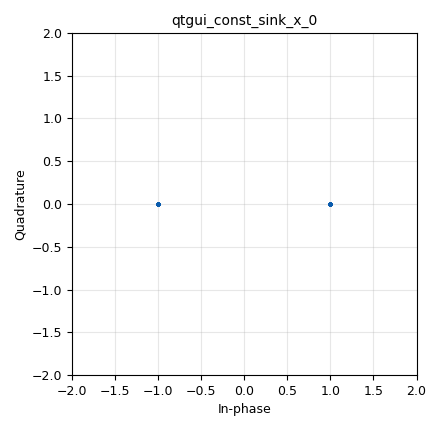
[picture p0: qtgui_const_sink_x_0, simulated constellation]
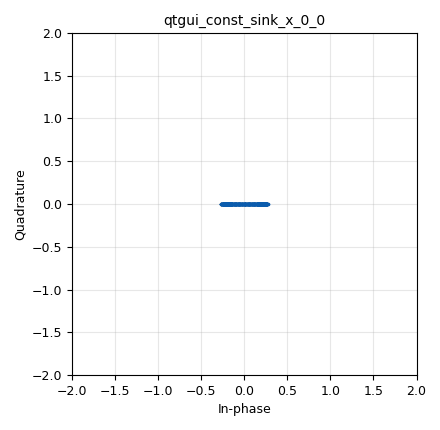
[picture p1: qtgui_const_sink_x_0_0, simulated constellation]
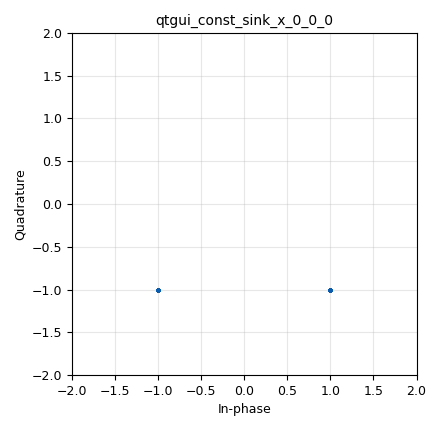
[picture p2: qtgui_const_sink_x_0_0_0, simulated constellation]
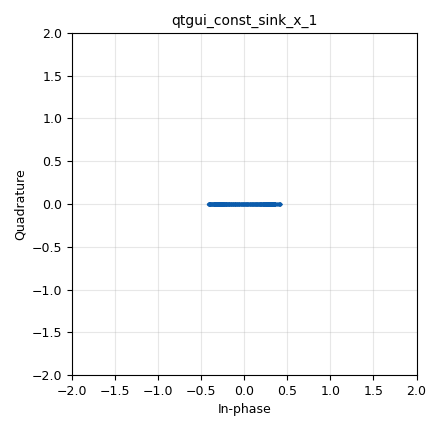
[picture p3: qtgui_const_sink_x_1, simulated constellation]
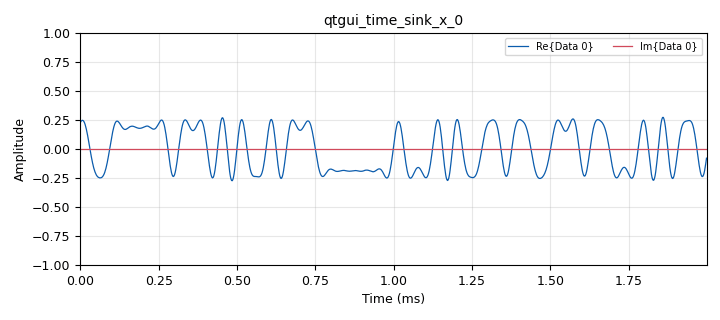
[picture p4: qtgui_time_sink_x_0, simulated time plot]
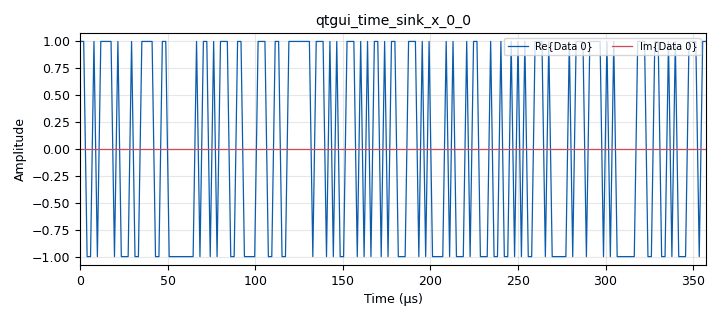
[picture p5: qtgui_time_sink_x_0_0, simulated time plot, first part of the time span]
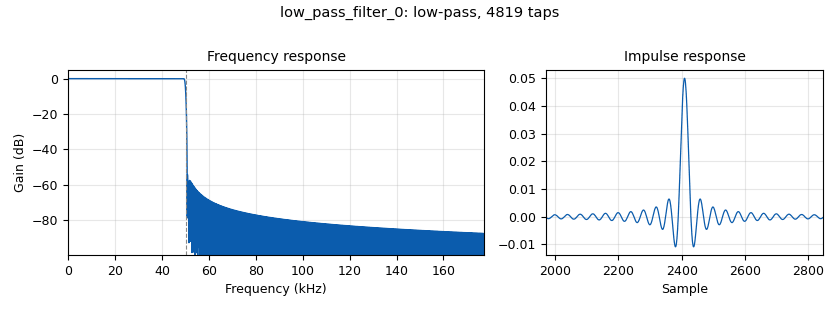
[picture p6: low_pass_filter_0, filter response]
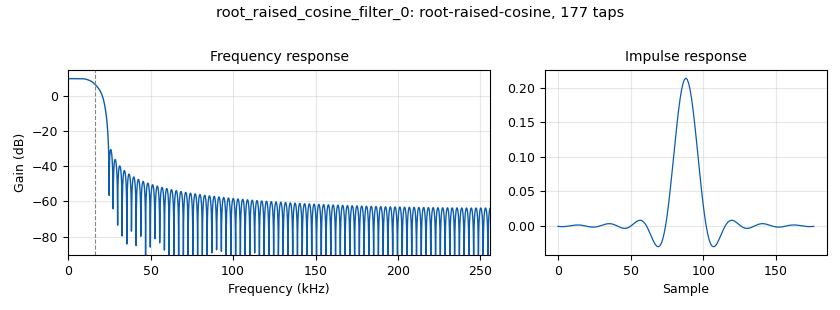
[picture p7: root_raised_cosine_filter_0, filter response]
options:
  parameters:
    generate_options: qt_gui
    id: bpsk_transmitter
    output_language: python
    title: Not titled yet
  states: {}

blocks:
- name: const_points
  id: variable
  parameters:
    value: '2'
  states: {}
- name: noise_amp
  id: variable_qtgui_range
  parameters:
    start: '0'
    step: '0.001'
    stop: '1'
    value: '0.0'
  states: {}
- name: quad_rate
  id: variable
  parameters:
    value: '2000000'
  states: {}
- name: sps
  id: variable
  parameters:
    value: '16'
  states: {}
- name: symb_rate
  id: variable
  parameters:
    value: '32000'
  states: {}
- name: analog_noise_source_x_0
  id: analog_noise_source_x
  parameters:
    amp: noise_amp
    noise_type: analog.GR_GAUSSIAN
    seed: '0'
    type: float
  states: {}
- name: analog_random_source_x_0
  id: analog_random_source_x
  parameters:
    max: const_points
    min: '0'
    num_samps: '1000'
    repeat: 'True'
    type: byte
  states: {}
- name: analog_sig_source_x_0
  id: analog_sig_source_x
  parameters:
    amp: '1'
    freq: '100000'
    offset: '0'
    phase: '0'
    samp_rate: quad_rate
    type: complex
    waveform: analog.GR_COS_WAVE
  states: {}
- name: analog_sig_source_x_0_0
  id: analog_sig_source_x
  parameters:
    amp: '1'
    freq: '100000'
    offset: '0'
    phase: '1.5707963267948966'
    samp_rate: quad_rate
    type: float
    waveform: analog.GR_COS_WAVE
  states: {}
- name: analog_sig_source_x_0_0_0
  id: analog_sig_source_x
  parameters:
    amp: '1'
    freq: '100000'
    offset: '0'
    phase: '0'
    samp_rate: quad_rate
    type: float
    waveform: analog.GR_COS_WAVE
  states: {}
- name: blocks_add_const_vxx_0
  id: blocks_add_const_vxx
  parameters:
    const: '-1'
    type: float
  states: {}
- name: blocks_add_const_vxx_0_0
  id: blocks_add_const_vxx
  parameters:
    const: '-1'
    type: float
  states: {}
- name: blocks_add_xx_0
  id: blocks_add_xx
  parameters:
    type: float
  states: {}
- name: blocks_complex_to_imag_0
  id: blocks_complex_to_imag
  parameters: {}
  states: {}
- name: blocks_complex_to_real_0
  id: blocks_complex_to_real
  parameters: {}
  states: {}
- name: blocks_complex_to_real_1
  id: blocks_complex_to_real
  parameters: {}
  states: {}
- name: blocks_float_to_complex_0
  id: blocks_float_to_complex
  parameters: {}
  states: {}
- name: blocks_float_to_complex_1
  id: blocks_float_to_complex
  parameters: {}
  states: {}
- name: blocks_multiply_const_vxx_0
  id: blocks_multiply_const_vxx
  parameters:
    const: '2'
    type: float
  states: {}
- name: blocks_multiply_const_vxx_0_0
  id: blocks_multiply_const_vxx
  parameters:
    const: '2'
    type: float
  states: {}
- name: blocks_multiply_xx_0
  id: blocks_multiply_xx
  parameters:
    type: complex
  states: {}
- name: blocks_multiply_xx_1
  id: blocks_multiply_xx
  parameters:
    type: float
  states: {}
- name: blocks_multiply_xx_1_0
  id: blocks_multiply_xx
  parameters:
    type: float
  states: {}
- name: blocks_threshold_ff_0
  id: blocks_threshold_ff
  parameters:
    high: '0.01'
    init: '0'
    low: '-0.01'
  states: {}
- name: blocks_threshold_ff_0_0
  id: blocks_threshold_ff
  parameters:
    high: '0.01'
    init: '0'
    low: '-0.01'
  states: {}
- name: blocks_throttle_0
  id: blocks_throttle
  parameters:
    samples_per_second: quad_rate
    type: float
  states: {}
- name: digital_chunks_to_symbols_xx_0
  id: digital_chunks_to_symbols_xx
  parameters:
    dimension: '1'
    in_type: byte
    out_type: complex
    symbol_table: (1, -1)
  states: {}
- name: interp_fir_filter_xxx_0
  id: interp_fir_filter_xxx
  parameters:
    interp: sps
    taps: '1'
    type: ccc
  states: {}
- name: low_pass_filter_0
  id: low_pass_filter
  parameters:
    cutoff_freq: '50000'
    decim: '1'
    gain: '1'
    samp_rate: quad_rate
    type: fir_filter_fff
    width: '1000'
    win: window.WIN_HAMMING
  states: {}
- name: low_pass_filter_0_0
  id: low_pass_filter
  parameters:
    cutoff_freq: '50000'
    decim: '1'
    gain: '1'
    samp_rate: quad_rate
    type: fir_filter_fff
    width: '1000'
    win: window.WIN_HAMMING
  states: {}
- name: plot
  id: qtgui_tab_widget
  parameters:
    label0: ''
    label1: Tab 1
    label2: Tab 2
    label3: Tab 3
    num_tabs: '4'
  states: {}
- name: qtgui_const_sink_x_0
  id: qtgui_const_sink_x
  parameters:
    gui_hint: plot@0
    size: '1024'
    type: complex
  states: {}
- name: qtgui_const_sink_x_0_0
  id: qtgui_const_sink_x
  parameters:
    gui_hint: plot@1
    size: '1024'
    type: complex
  states: {}
- name: qtgui_const_sink_x_0_0_0
  id: qtgui_const_sink_x
  parameters:
    gui_hint: plot@3
    size: '1024'
    type: complex
  states: {}
- name: qtgui_const_sink_x_1
  id: qtgui_const_sink_x
  parameters:
    gui_hint: plot@2
    size: '1024'
    type: complex
  states: {}
- name: qtgui_time_sink_x_0
  id: qtgui_time_sink_x
  parameters:
    gui_hint: plot@1
    size: '1024'
    srate: symb_rate*sps
    type: complex
  states: {}
- name: qtgui_time_sink_x_0_0
  id: qtgui_time_sink_x
  parameters:
    gui_hint: plot@0
    size: '1024'
    srate: symb_rate*sps
    type: complex
  states: {}
- name: qtgui_time_sink_x_0_0_0
  id: qtgui_time_sink_x
  parameters:
    gui_hint: plot@2
    size: '1024'
    srate: symb_rate*sps
    type: complex
  states: {}
- name: qtgui_time_sink_x_1
  id: qtgui_time_sink_x
  parameters:
    gui_hint: plot@3
    nconnections: '2'
    size: '1024'
    srate: symb_rate*sps
    type: float
  states: {}
- name: rational_resampler_xxx_0
  id: rational_resampler_xxx
  parameters:
    decim: symb_rate*sps
    interp: quad_rate
    type: ccc
  states: {}
- name: rational_resampler_xxx_0_0
  id: rational_resampler_xxx
  parameters:
    decim: quad_rate
    interp: symb_rate*sps
    type: ccc
  states: {}
- name: root_raised_cosine_filter_0
  id: root_raised_cosine_filter
  parameters:
    alpha: '0.5'
    decim: '1'
    gain: '3'
    ntaps: 11*sps
    samp_rate: symb_rate*sps
    sym_rate: symb_rate
    type: fir_filter_ccf
  states: {}
- name: root_raised_cosine_filter_0_0
  id: root_raised_cosine_filter
  parameters:
    alpha: '0.5'
    decim: '1'
    gain: '3'
    ntaps: 11*sps
    samp_rate: symb_rate*sps
    sym_rate: symb_rate
    type: fir_filter_ccf
  states: {}
- name: virtual_sink_0
  id: virtual_sink
  parameters:
    stream_id: mod_output
  states: {}
- name: virtual_source_0
  id: virtual_source
  parameters:
    stream_id: mod_output
  states: {}

connections:
- [analog_noise_source_x_0, '0', blocks_add_xx_0, '0']
- [analog_random_source_x_0, '0', digital_chunks_to_symbols_xx_0, '0']
- [analog_sig_source_x_0, '0', blocks_multiply_xx_0, '1']
- [analog_sig_source_x_0_0, '0', blocks_multiply_xx_1_0, '1']
- [analog_sig_source_x_0_0_0, '0', blocks_multiply_xx_1, '0']
- [blocks_add_const_vxx_0, '0', blocks_float_to_complex_1, '0']
- [blocks_add_const_vxx_0, '0', qtgui_time_sink_x_1, '0']
- [blocks_add_const_vxx_0_0, '0', blocks_float_to_complex_1, '1']
- [blocks_add_const_vxx_0_0, '0', qtgui_time_sink_x_1, '1']
- [blocks_add_xx_0, '0', blocks_throttle_0, '0']
- [blocks_complex_to_imag_0, '0', blocks_threshold_ff_0_0, '0']
- [blocks_complex_to_real_0, '0', blocks_add_xx_0, '1']
- [blocks_complex_to_real_1, '0', blocks_threshold_ff_0, '0']
- [blocks_float_to_complex_0, '0', rational_resampler_xxx_0_0, '0']
- [blocks_float_to_complex_1, '0', qtgui_const_sink_x_0_0_0, '0']
- [blocks_multiply_const_vxx_0, '0', blocks_add_const_vxx_0, '0']
- [blocks_multiply_const_vxx_0_0, '0', blocks_add_const_vxx_0_0, '0']
- [blocks_multiply_xx_0, '0', blocks_complex_to_real_0, '0']
- [blocks_multiply_xx_1, '0', low_pass_filter_0, '0']
- [blocks_multiply_xx_1_0, '0', low_pass_filter_0_0, '0']
- [blocks_threshold_ff_0, '0', blocks_multiply_const_vxx_0, '0']
- [blocks_threshold_ff_0_0, '0', blocks_multiply_const_vxx_0_0, '0']
- [blocks_throttle_0, '0', virtual_sink_0, '0']
- [digital_chunks_to_symbols_xx_0, '0', interp_fir_filter_xxx_0, '0']
- [digital_chunks_to_symbols_xx_0, '0', qtgui_const_sink_x_0, '0']
- [digital_chunks_to_symbols_xx_0, '0', qtgui_time_sink_x_0_0, '0']
- [interp_fir_filter_xxx_0, '0', root_raised_cosine_filter_0, '0']
- [low_pass_filter_0, '0', blocks_float_to_complex_0, '0']
- [low_pass_filter_0_0, '0', blocks_float_to_complex_0, '1']
- [rational_resampler_xxx_0, '0', blocks_multiply_xx_0, '0']
- [rational_resampler_xxx_0_0, '0', root_raised_cosine_filter_0_0, '0']
- [root_raised_cosine_filter_0, '0', qtgui_const_sink_x_0_0, '0']
- [root_raised_cosine_filter_0, '0', qtgui_time_sink_x_0, '0']
- [root_raised_cosine_filter_0, '0', rational_resampler_xxx_0, '0']
- [root_raised_cosine_filter_0_0, '0', blocks_complex_to_imag_0, '0']
- [root_raised_cosine_filter_0_0, '0', blocks_complex_to_real_1, '0']
- [root_raised_cosine_filter_0_0, '0', qtgui_const_sink_x_1, '0']
- [root_raised_cosine_filter_0_0, '0', qtgui_time_sink_x_0_0_0, '0']
- [virtual_source_0, '0', blocks_multiply_xx_1, '1']
- [virtual_source_0, '0', blocks_multiply_xx_1_0, '0']

metadata:
  file_format: 1
  grc_version: 3.9.8.0-rc1
